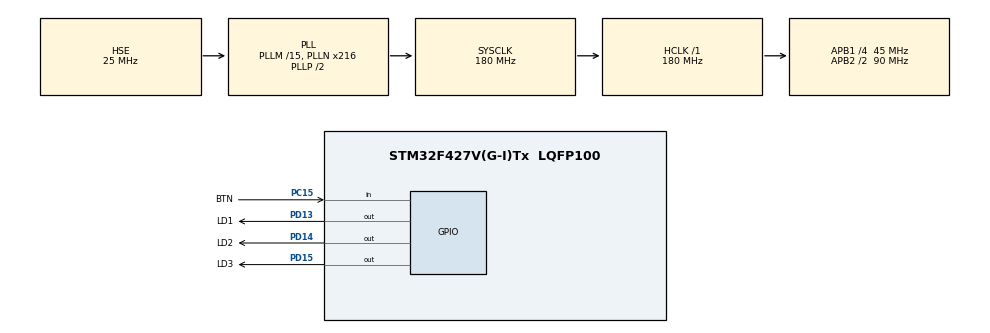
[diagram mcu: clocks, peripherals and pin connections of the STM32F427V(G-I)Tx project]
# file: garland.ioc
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Mcu.Family=STM32F4
Mcu.Name=STM32F427V(G-I)Tx
Mcu.Package=LQFP100
NVIC.PriorityGroup=NVIC_PRIORITYGROUP_4
PA13.Mode=JTAG_5_pins
PA13.Signal=SYS_JTMS-SWDIO
PA14.Mode=JTAG_5_pins
PA14.Signal=SYS_JTCK-SWCLK
PA15.Mode=JTAG_5_pins
PA15.Signal=SYS_JTDI
PB3.Mode=JTAG_5_pins
PB3.Signal=SYS_JTDO-SWO
PB4.Mode=JTAG_5_pins
PB4.Signal=SYS_JTRST
PC15/OSC32_OUT.GPIO_Label=BTN
PC15/OSC32_OUT.Signal=GPIO_Input
PD13.GPIO_Label=LD1
PD13.Signal=GPIO_Output
PD14.GPIO_Label=LD2
PD14.Signal=GPIO_Output
PD15.GPIO_Label=LD3
PD15.Signal=GPIO_Output
PH0/OSC_IN.Mode=HSE-External-Oscillator
PH0/OSC_IN.Signal=RCC_OSC_IN
PH1/OSC_OUT.Mode=HSE-External-Oscillator
PH1/OSC_OUT.Signal=RCC_OSC_OUT
ProjectManager.HeapSize=0x200
ProjectManager.StackSize=0x400
ProjectManager.TargetToolchain=STM32CubeIDE
RCC.48MHZClocksFreq_Value=90000000
RCC.AHBFreq_Value=180000000
RCC.APB1CLKDivider=RCC_HCLK_DIV4
RCC.APB1Freq_Value=45000000
RCC.APB1TimFreq_Value=90000000
RCC.APB2CLKDivider=RCC_HCLK_DIV2
RCC.APB2Freq_Value=90000000
RCC.APB2TimFreq_Value=180000000
RCC.CortexFreq_Value=180000000
RCC.HCLKFreq_Value=180000000
RCC.HSE_VALUE=25000000
RCC.HSI_VALUE=16000000
RCC.LSE_VALUE=32768
RCC.PLLM=15
RCC.PLLN=216
RCC.PLLSourceVirtual=RCC_PLLSOURCE_HSE
RCC.SYSCLKFreq_VALUE=180000000
RCC.SYSCLKSource=RCC_SYSCLKSOURCE_PLLCLK
RCC.VCOOutputFreq_Value=360000000
board=custom

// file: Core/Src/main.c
/* USER CODE BEGIN Header */
/**
  ******************************************************************************
  * @file           : main.c
  * @brief          : Main program body
  ******************************************************************************
  * @attention
  *
  * Copyright (c) 2023 STMicroelectronics.
  * All rights reserved.
  *
  * This software is licensed under terms that can be found in the LICENSE file
  * in the root directory of this software component.
  * If no LICENSE file comes with this software, it is provided AS-IS.
  *
  ******************************************************************************
  */
/* USER CODE END Header */
#include "main.h"
#include "gpio.h"

/* USER CODE BEGIN Includes */
#include "stdbool.h"
/* USER CODE END Includes */

void SystemClock_Config(void);

/* USER CODE BEGIN 0 */
extern void initialise_monitor_handles(void);

/* USER CODE END 0 */

int main(void)
{
  /* USER CODE BEGIN 1 */
	initialise_monitor_handles();
  /* USER CODE END 1 */

  /* MCU Configuration--------------------------------------------------------*/

  /* Reset of all peripherals, Initializes the Flash interface and the Systick. */
  HAL_Init();

  /* Configure the system clock */
  SystemClock_Config();

  /* Initialize all configured peripherals */
  MX_GPIO_Init();

  /* Infinite loop */
  /* USER CODE BEGIN WHILE */

  uint32_t start_time, current_time, current_led_number;
  uint32_t current_delay = 50;
  uint32_t current_mode = 0;
  uint32_t pred_led_number_mode0 = 2;
  uint32_t pred_led_number_mode1 = 2;
  uint32_t pred_led_number_mode2 = 2;
  uint32_t pred_led_number_mode3 = 2;
  uint32_t time_button_pressed = 0;

  start_time = HAL_GetTick();

  while (1)
  {
	  current_time = HAL_GetTick();

	  if (HAL_GPIO_ReadPin(GPIOC, GPIO_PIN_15) == 0 &&
			  (current_time - time_button_pressed) > 20) {
		  printf("tbp - %d\n", time_button_pressed);
		  printf("cur_time - %d\n", current_time);
		  time_button_pressed = HAL_GetTick();
		  printf("Button pressed\n");

		  if (current_mode == 0) {
		  		pred_led_number_mode0 = current_led_number;
		  		current_mode = 1;
		  		current_delay = 700;
		  		current_led_number = pred_led_number_mode1;
		  }
		  else if (current_mode == 1) {
		  		pred_led_number_mode1 = current_led_number;
		  		current_mode = 2;
		  		current_delay = 1500;
		  		current_led_number = pred_led_number_mode2;
		  }
		  else if (current_mode == 2){
		  		pred_led_number_mode2 = current_led_number;
		  		current_mode = 3;
		  		current_delay = 2100;
		  		current_led_number = pred_led_number_mode3;
		  }
		  else {
		  		pred_led_number_mode3 = current_led_number;
		  		current_mode = 0;
		  		current_delay = 50;
		  		current_led_number = pred_led_number_mode0;
		  }
		  printf("current_mode - %d\n", current_mode);
		  printf("current_delay - %d\n", current_delay);
		  printf("current_led_number - %d\n", current_led_number);
	  }

	  if (current_time - start_time >= current_delay) {
		   if (current_led_number == 0) {
			   HAL_GPIO_WritePin(LD1_GPIO_Port, LD1_Pin, GPIO_PIN_SET);
			   HAL_GPIO_WritePin(LD2_GPIO_Port, LD2_Pin, GPIO_PIN_RESET);
			   HAL_GPIO_WritePin(LD3_GPIO_Port, LD3_Pin, GPIO_PIN_RESET);
		   }
		   else if (current_led_number == 1) {
			   HAL_GPIO_WritePin(LD2_GPIO_Port, LD2_Pin, GPIO_PIN_SET);
			   HAL_GPIO_WritePin(LD1_GPIO_Port, LD1_Pin, GPIO_PIN_RESET);
			   HAL_GPIO_WritePin(LD3_GPIO_Port, LD3_Pin, GPIO_PIN_RESET);
		   }
		   else {
			   HAL_GPIO_WritePin(LD3_GPIO_Port, LD3_Pin, GPIO_PIN_SET);
			   HAL_GPIO_WritePin(LD2_GPIO_Port, LD2_Pin, GPIO_PIN_RESET);
			   HAL_GPIO_WritePin(LD1_GPIO_Port, LD1_Pin, GPIO_PIN_RESET);
		   }
		   current_led_number = (current_led_number + 1) % 3;
		   start_time = HAL_GetTick();
	  }
    /* USER CODE END WHILE */

  }
}

void SystemClock_Config(void)
{
  RCC_OscInitTypeDef RCC_OscInitStruct = {0};
  RCC_ClkInitTypeDef RCC_ClkInitStruct = {0};

  /** Configure the main internal regulator output voltage
  */
  __HAL_RCC_PWR_CLK_ENABLE();
  __HAL_PWR_VOLTAGESCALING_CONFIG(PWR_REGULATOR_VOLTAGE_SCALE1);

  /** Initializes the RCC Oscillators according to the specified parameters
  * in the RCC_OscInitTypeDef structure.
  */
  RCC_OscInitStruct.OscillatorType = RCC_OSCILLATORTYPE_HSE;
  RCC_OscInitStruct.HSEState = RCC_HSE_ON;
  RCC_OscInitStruct.PLL.PLLState = RCC_PLL_ON;
  RCC_OscInitStruct.PLL.PLLSource = RCC_PLLSOURCE_HSE;
  RCC_OscInitStruct.PLL.PLLM = 15;
  RCC_OscInitStruct.PLL.PLLN = 216;
  RCC_OscInitStruct.PLL.PLLP = RCC_PLLP_DIV2;
  RCC_OscInitStruct.PLL.PLLQ = 4;
  if (HAL_RCC_OscConfig(&RCC_OscInitStruct) != HAL_OK)
  {
    Error_Handler();
  }

  /** Activate the Over-Drive mode
  */
  if (HAL_PWREx_EnableOverDrive() != HAL_OK)
  {
    Error_Handler();
  }

  /** Initializes the CPU, AHB and APB buses clocks
  */
  RCC_ClkInitStruct.ClockType = RCC_CLOCKTYPE_HCLK|RCC_CLOCKTYPE_SYSCLK
                              |RCC_CLOCKTYPE_PCLK1|RCC_CLOCKTYPE_PCLK2;
  RCC_ClkInitStruct.SYSCLKSource = RCC_SYSCLKSOURCE_PLLCLK;
  RCC_ClkInitStruct.AHBCLKDivider = RCC_SYSCLK_DIV1;
  RCC_ClkInitStruct.APB1CLKDivider = RCC_HCLK_DIV4;
  RCC_ClkInitStruct.APB2CLKDivider = RCC_HCLK_DIV2;

  if (HAL_RCC_ClockConfig(&RCC_ClkInitStruct, FLASH_LATENCY_5) != HAL_OK)
  {
    Error_Handler();
  }
}

void Error_Handler(void)
{
  __disable_irq();
  while (1)
  {
  }
}
